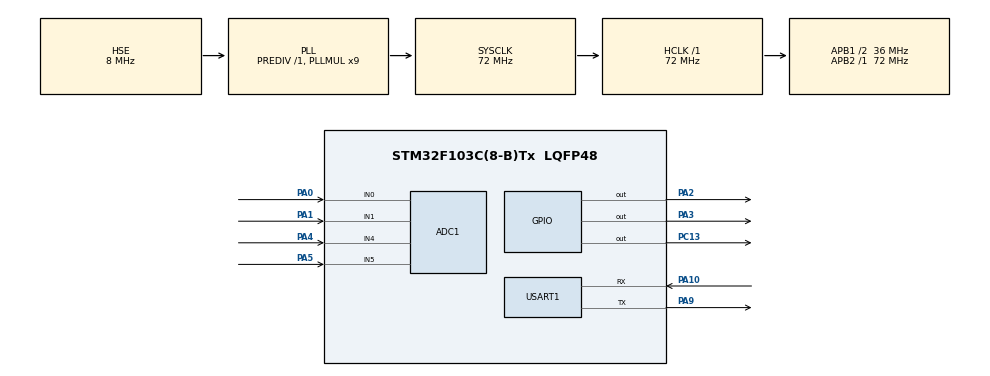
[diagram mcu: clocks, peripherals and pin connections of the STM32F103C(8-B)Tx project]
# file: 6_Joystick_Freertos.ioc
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ADC1.Channel-0\#ChannelRegularConversion=ADC_CHANNEL_0
ADC1.Channel-1\#ChannelRegularConversion=ADC_CHANNEL_1
ADC1.Channel-2\#ChannelRegularConversion=ADC_CHANNEL_4
ADC1.Channel-3\#ChannelRegularConversion=ADC_CHANNEL_5
ADC1.ContinuousConvMode=DISABLE
ADC1.DiscontinuousConvMode=ENABLE
ADC1.NbrOfConversion=4
ADC1.NbrOfConversionFlag=1
ADC1.NbrOfDiscConversion=1
ADC1.Rank-0\#ChannelRegularConversion=1
ADC1.Rank-1\#ChannelRegularConversion=2
ADC1.Rank-2\#ChannelRegularConversion=3
ADC1.Rank-3\#ChannelRegularConversion=4
ADC1.SamplingTime-0\#ChannelRegularConversion=ADC_SAMPLETIME_1CYCLE_5
ADC1.SamplingTime-1\#ChannelRegularConversion=ADC_SAMPLETIME_1CYCLE_5
ADC1.SamplingTime-2\#ChannelRegularConversion=ADC_SAMPLETIME_1CYCLE_5
ADC1.SamplingTime-3\#ChannelRegularConversion=ADC_SAMPLETIME_1CYCLE_5
ADC1.master=1
FREERTOS.Tasks01=JoystickTask,24,128,Start_JoystickTask,Default,NULL,Dynamic,NULL,NULL
Mcu.Family=STM32F1
Mcu.Name=STM32F103C(8-B)Tx
Mcu.Package=LQFP48
NVIC.ADC1_2_IRQn=true\:5\:0\:false\:false\:true\:true\:true\:true\:true
NVIC.PriorityGroup=NVIC_PRIORITYGROUP_4
NVIC.TIM4_IRQn=true\:15\:0\:false\:false\:true\:false\:false\:true\:true
NVIC.TimeBase=TIM4_IRQn
NVIC.TimeBaseIP=TIM4
NVIC.USART1_IRQn=true\:5\:0\:false\:false\:true\:true\:true\:true\:true
PA0-WKUP.Signal=ADCx_IN0
PA1.Signal=ADCx_IN1
PA10.Mode=Asynchronous
PA10.Signal=USART1_RX
PA13.Mode=Serial_Wire
PA13.Signal=SYS_JTMS-SWDIO
PA14.Mode=Serial_Wire
PA14.Signal=SYS_JTCK-SWCLK
PA2.PinState=GPIO_PIN_SET
PA2.Signal=GPIO_Output
PA3.PinState=GPIO_PIN_SET
PA3.Signal=GPIO_Output
PA4.Signal=ADCx_IN4
PA5.Signal=ADCx_IN5
PA9.Mode=Asynchronous
PA9.Signal=USART1_TX
PC13-TAMPER-RTC.PinState=GPIO_PIN_SET
PC13-TAMPER-RTC.Signal=GPIO_Output
PD0-OSC_IN.Mode=HSE-External-Oscillator
PD0-OSC_IN.Signal=RCC_OSC_IN
PD1-OSC_OUT.Mode=HSE-External-Oscillator
PD1-OSC_OUT.Signal=RCC_OSC_OUT
ProjectManager.HeapSize=0x200
ProjectManager.StackSize=0x400
ProjectManager.TargetToolchain=MDK-ARM V5.32
RCC.ADCPresc=RCC_ADCPCLK2_DIV6
RCC.AHBFreq_Value=72000000
RCC.APB1CLKDivider=RCC_HCLK_DIV2
RCC.APB1Freq_Value=36000000
RCC.APB1TimFreq_Value=72000000
RCC.APB2Freq_Value=72000000
RCC.APB2TimFreq_Value=72000000
RCC.EnbaleCSS=true
RCC.HCLKFreq_Value=72000000
RCC.PLLMUL=RCC_PLL_MUL9
RCC.PLLSourceVirtual=RCC_PLLSOURCE_HSE
RCC.SYSCLKFreq_VALUE=72000000
RCC.SYSCLKSource=RCC_SYSCLKSOURCE_PLLCLK
RCC.USBFreq_Value=72000000
SH.ADCx_IN0.0=ADC1_IN0,IN0
SH.ADCx_IN1.0=ADC1_IN1,IN1
SH.ADCx_IN4.0=ADC1_IN4,IN4
SH.ADCx_IN5.0=ADC1_IN5,IN5
USART1.VirtualMode=VM_ASYNC
VP_FREERTOS_VS_CMSIS_V2.Mode=CMSIS_V2
VP_SYS_VS_tim4.Mode=TIM4
board=custom

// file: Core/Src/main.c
/* USER CODE BEGIN Header */
/**
  ******************************************************************************
  * @file           : main.c
  * @brief          : Main program body
  ******************************************************************************
  * @attention
  *
  * Copyright (c) 2025 STMicroelectronics.
  * All rights reserved.
  *
  * This software is licensed under terms that can be found in the LICENSE file
  * in the root directory of this software component.
  * If no LICENSE file comes with this software, it is provided AS-IS.
  *
  ******************************************************************************
  */
/* USER CODE END Header */
#include "main.h"
#include "cmsis_os.h"
#include "adc.h"
#include "usart.h"
#include "gpio.h"

/* USER CODE BEGIN Includes */

#include "stdbool.h"

/* USER CODE END Includes */

/* USER CODE BEGIN PV */

// 状态标志，指示 UART 正在发送。初始为 false (空闲)
volatile bool uart_tx_busy = false;

// ADC 结果数组，用于存储 ADC1 转换完成后的 4 个通道结果
// 必须是 volatile，因为 ISR 和 Task 都在访问它
volatile uint16_t adc_results[4];

/* USER CODE END PV */

void SystemClock_Config(void);
void MX_FREERTOS_Init(void);

int main(void)
{

  /* MCU Configuration--------------------------------------------------------*/

  /* Reset of all peripherals, Initializes the Flash interface and the Systick. */
  HAL_Init();

  /* Configure the system clock */
  SystemClock_Config();

  /* Initialize all configured peripherals */
  MX_GPIO_Init();
  MX_ADC1_Init();
  MX_USART1_UART_Init();

  /* Init scheduler */
  osKernelInitialize();  /* Call init function for freertos objects (in cmsis_os2.c) */
  MX_FREERTOS_Init();

  /* Start scheduler */
  osKernelStart();

  /* We should never get here as control is now taken by the scheduler */

  /* Infinite loop */
  while (1)
  {

  }
}

void SystemClock_Config(void)
{
  RCC_OscInitTypeDef RCC_OscInitStruct = {0};
  RCC_ClkInitTypeDef RCC_ClkInitStruct = {0};
  RCC_PeriphCLKInitTypeDef PeriphClkInit = {0};

  /** Initializes the RCC Oscillators according to the specified parameters
  * in the RCC_OscInitTypeDef structure.
  */
  RCC_OscInitStruct.OscillatorType = RCC_OSCILLATORTYPE_HSE;
  RCC_OscInitStruct.HSEState = RCC_HSE_ON;
  RCC_OscInitStruct.HSEPredivValue = RCC_HSE_PREDIV_DIV1;
  RCC_OscInitStruct.HSIState = RCC_HSI_ON;
  RCC_OscInitStruct.PLL.PLLState = RCC_PLL_ON;
  RCC_OscInitStruct.PLL.PLLSource = RCC_PLLSOURCE_HSE;
  RCC_OscInitStruct.PLL.PLLMUL = RCC_PLL_MUL9;
  if (HAL_RCC_OscConfig(&RCC_OscInitStruct) != HAL_OK)
  {
    Error_Handler();
  }

  /** Initializes the CPU, AHB and APB buses clocks
  */
  RCC_ClkInitStruct.ClockType = RCC_CLOCKTYPE_HCLK|RCC_CLOCKTYPE_SYSCLK
                              |RCC_CLOCKTYPE_PCLK1|RCC_CLOCKTYPE_PCLK2;
  RCC_ClkInitStruct.SYSCLKSource = RCC_SYSCLKSOURCE_PLLCLK;
  RCC_ClkInitStruct.AHBCLKDivider = RCC_SYSCLK_DIV1;
  RCC_ClkInitStruct.APB1CLKDivider = RCC_HCLK_DIV2;
  RCC_ClkInitStruct.APB2CLKDivider = RCC_HCLK_DIV1;

  if (HAL_RCC_ClockConfig(&RCC_ClkInitStruct, FLASH_LATENCY_2) != HAL_OK)
  {
    Error_Handler();
  }
  PeriphClkInit.PeriphClockSelection = RCC_PERIPHCLK_ADC;
  PeriphClkInit.AdcClockSelection = RCC_ADCPCLK2_DIV6;
  if (HAL_RCCEx_PeriphCLKConfig(&PeriphClkInit) != HAL_OK)
  {
    Error_Handler();
  }

  /** Enables the Clock Security System
  */
  HAL_RCC_EnableCSS();
}

/* USER CODE BEGIN 4 */

void HAL_ADC_ConvCpltCallback(ADC_HandleTypeDef* hadc)
{
    if (hadc->Instance == ADC1)
    {
      // 1. 停止转换 (必须在读取前停止)
      HAL_ADC_Stop(hadc);

      // 2. 依次读取 4 个转换结果到全局数组中
      // 确保 ADC1 配置为扫描模式且 Number of Conversions = 4
      adc_results[0] = HAL_ADC_GetValue(hadc); // Rank 1 (vrx1)
      adc_results[1] = HAL_ADC_GetValue(hadc); // Rank 2 (vry1)
      adc_results[2] = HAL_ADC_GetValue(hadc); // Rank 3 (vrx2)
      adc_results[3] = HAL_ADC_GetValue(hadc); // Rank 4 (vry2)

        // // 读取 ADC1 的 4 个通道结果
        // for (int i = 0; i < 4; i++) {
        //     adc_results[i] = HAL_ADC_GetValue(hadc);
        // }
    }
}

void HAL_UART_TxCpltCallback(UART_HandleTypeDef *huart) {
    if (huart->Instance == USART1) {
        // 传输完成，清除忙标志
        uart_tx_busy = false;
    }
}

/* USER CODE END 4 */

void HAL_TIM_PeriodElapsedCallback(TIM_HandleTypeDef *htim)
{
  if (htim->Instance == TIM4)
  {
    HAL_IncTick();
  }
}

void Error_Handler(void)
{
  __disable_irq();
  while (1)
  {
  }
}

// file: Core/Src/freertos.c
/* USER CODE BEGIN Header */
/**
  ******************************************************************************
  * File Name          : freertos.c
  * Description        : Code for freertos applications
  ******************************************************************************
  * @attention
  *
  * Copyright (c) 2025 STMicroelectronics.
  * All rights reserved.
  *
  * This software is licensed under terms that can be found in the LICENSE file
  * in the root directory of this software component.
  * If no LICENSE file comes with this software, it is provided AS-IS.
  *
  ******************************************************************************
  */
/* USER CODE END Header */

#include "FreeRTOS.h"
#include "task.h"
#include "main.h"
#include "cmsis_os.h"

/* USER CODE BEGIN Includes */

#include "string.h"
#include "stdio.h"
#include "adc.h"
#include "usart.h"
#include "stdbool.h"

extern volatile bool uart_tx_busy;
extern volatile uint16_t adc_results[4];

/* USER CODE END Includes */

/* Definitions for JoystickTask */
osThreadId_t JoystickTaskHandle;
const osThreadAttr_t JoystickTask_attributes = {
  .name = "JoystickTask",
  .stack_size = 128 * 4,
  .priority = (osPriority_t) osPriorityNormal,
};

void Start_JoystickTask(void *argument);

void MX_FREERTOS_Init(void); /* (MISRA C 2004 rule 8.1) */

void MX_FREERTOS_Init(void) {

  /* Create the thread(s) */
  /* creation of JoystickTask */
  JoystickTaskHandle = osThreadNew(Start_JoystickTask, NULL, &JoystickTask_attributes);

}

void Start_JoystickTask(void *argument)
{
  /* USER CODE BEGIN Start_JoystickTask */
  char txbuf[80];
  /* Infinite loop */
  for(;;)
  {
    osDelay(1);
  /* USER CODE END Start_JoystickTask */
}
